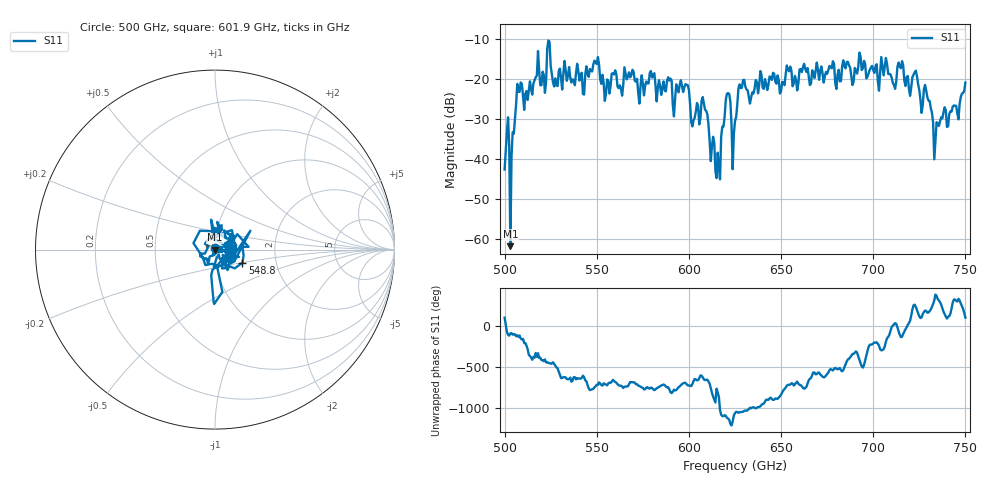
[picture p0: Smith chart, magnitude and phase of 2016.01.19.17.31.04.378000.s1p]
!Created with skrf (http://scikit-rf.org).
# GHz S RI R 50.0
!freq ReS11 ImS11
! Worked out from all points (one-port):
!   401 points, 500 GHz to 750 GHz, reference 50 ohm
!   lowest |S11| = -61.9 dB at 503.1 GHz (marker M1), VSWR 1.00, Z = 50 - j0.08 ohm
!   |S11| at or under -10 dB: start of sweep to end of sweep
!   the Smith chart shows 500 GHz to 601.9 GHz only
!   S11 on the Smith chart (normalised r, x): 500 GHz: 1.00, +0.01; 548.8 GHz: 1.34, -0.20; 601.9 GHz: 1.05, +0.01
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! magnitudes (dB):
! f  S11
! 500 GHz  -42.7
! 501.2 GHz  -33.3
! 503.1 GHz  -61.9
! 504.4 GHz  -33.4
! 505.6 GHz  -30.1
! 508.1 GHz  -23.2
! 521.2 GHz  -19.0
! 524.4 GHz  -10.7
! 527.5 GHz  -19.9
! 531.2 GHz  -22.7
! 548.8 GHz  -15.4
! 562.5 GHz  -21.6
! 593.8 GHz  -22.2
! 598.8 GHz  -21.5
! 601.9 GHz  -31.9
! 608.1 GHz  -26.1
! 615.6 GHz  -38.5
! 621.2 GHz  -23.6
! 625 GHz  -30.6
! 628.8 GHz  -22.2
! 656.2 GHz  -21.8
! 687.5 GHz  -17.2
! 711.2 GHz  -21.5
! 715 GHz  -17.3
! 718.8 GHz  -19.3
! 728.8 GHz  -23.0
! 734.4 GHz  -30.9
! 750 GHz  -20.9
